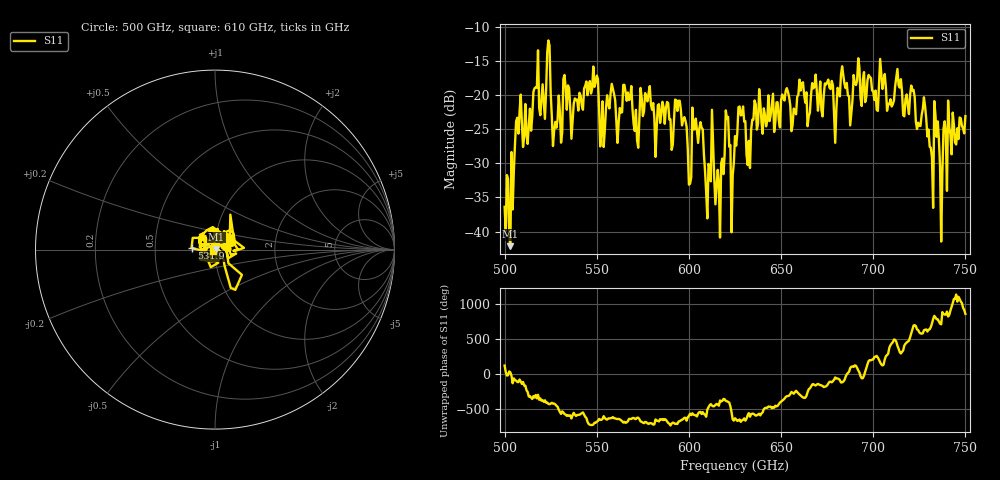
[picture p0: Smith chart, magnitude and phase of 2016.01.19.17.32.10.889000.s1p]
!Created with skrf (http://scikit-rf.org).
# GHz S RI R 50.0
!freq ReS11 ImS11
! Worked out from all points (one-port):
!   401 points, 500 GHz to 750 GHz, reference 50 ohm
!   lowest |S11| = -42.1 dB at 503.1 GHz (marker M1), VSWR 1.02, Z = 50.7 + j0.337 ohm
!   |S11| at or under -10 dB: start of sweep to end of sweep
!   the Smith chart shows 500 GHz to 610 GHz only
!   S11 on the Smith chart (normalised r, x): 500 GHz: 0.98, +0.03; 531.9 GHz: 0.77, +0.01; 610 GHz: 0.98, -0.01
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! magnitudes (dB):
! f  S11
! 500 GHz  -36.4
! 503.1 GHz  -42.1
! 507.5 GHz  -25.6
! 513.1 GHz  -24.3
! 516.9 GHz  -18.9
! 531.2 GHz  -25.5
! 531.9 GHz  -17.7
! 549.4 GHz  -18.2
! 553.1 GHz  -20.9
! 558.8 GHz  -19.1
! 562.5 GHz  -21.9
! 593.8 GHz  -22.3
! 600 GHz  -33.1
! 606.9 GHz  -24.8
! 610 GHz  -38.1
! 621.2 GHz  -23.2
! 625 GHz  -26.0
! 628.1 GHz  -23.0
! 632.5 GHz  -26.7
! 636.9 GHz  -25.1
! 656.2 GHz  -24.4
! 687.5 GHz  -24.4
! 718.8 GHz  -21.5
! 727.5 GHz  -20.3
! 731.2 GHz  -27.7
! 734.4 GHz  -26.1
! 736.9 GHz  -41.5
! 750 GHz  -23.1
